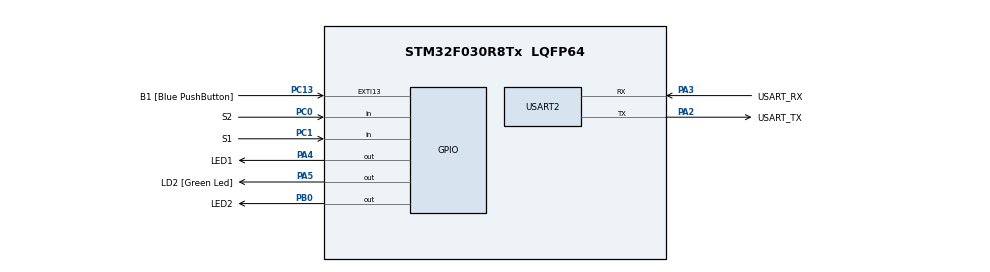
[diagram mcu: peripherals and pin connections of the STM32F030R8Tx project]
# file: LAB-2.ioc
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Mcu.Family=STM32F0
Mcu.Name=STM32F030R8Tx
Mcu.Package=LQFP64
PA13.GPIO_Label=TMS
PA13.Mode=Serial_Wire
PA13.Signal=SYS_SWDIO
PA14.GPIO_Label=TCK
PA14.Mode=Serial_Wire
PA14.Signal=SYS_SWCLK
PA2.GPIO_Label=USART_TX
PA2.GPIO_Mode=GPIO_MODE_AF_PP
PA2.GPIO_PuPd=GPIO_NOPULL
PA2.GPIO_Speed=GPIO_SPEED_FREQ_LOW
PA2.Mode=Asynchronous
PA2.Signal=USART2_TX
PA3.GPIO_Label=USART_RX
PA3.GPIO_Mode=GPIO_MODE_AF_PP
PA3.GPIO_PuPd=GPIO_NOPULL
PA3.GPIO_Speed=GPIO_SPEED_FREQ_LOW
PA3.Mode=Asynchronous
PA3.Signal=USART2_RX
PA4.GPIO_Label=LED1
PA4.Signal=GPIO_Output
PA5.GPIO_Label=LD2 [Green Led]
PA5.GPIO_Mode=GPIO_MODE_OUTPUT_PP
PA5.GPIO_PuPd=GPIO_NOPULL
PA5.GPIO_Speed=GPIO_SPEED_FREQ_LOW
PA5.Signal=GPIO_Output
PB0.GPIO_Label=LED2
PB0.Signal=GPIO_Output
PC0.GPIO_Label=S2
PC0.GPIO_PuPd=GPIO_PULLUP
PC0.Signal=GPIO_Input
PC1.GPIO_Label=S1
PC1.GPIO_PuPd=GPIO_PULLUP
PC1.Signal=GPIO_Input
PC13.GPIO_Label=B1 [Blue PushButton]
PC13.GPIO_ModeDefaultEXTI=GPIO_MODE_IT_FALLING
PC13.Signal=GPXTI13
PC14-OSC32_IN.Mode=LSE-External-Oscillator
PC14-OSC32_IN.Signal=RCC_OSC32_IN
PC15-OSC32_OUT.Mode=LSE-External-Oscillator
PC15-OSC32_OUT.Signal=RCC_OSC32_OUT
PF0-OSC_IN.Mode=HSE-External-Clock-Source
PF0-OSC_IN.Signal=RCC_OSC_IN
PF1-OSC_OUT.Signal=RCC_OSC_OUT
ProjectManager.HeapSize=0x200
ProjectManager.StackSize=0x400
ProjectManager.TargetToolchain=STM32CubeIDE
RCC.AHBFreq_Value=48000000
RCC.APB1Freq_Value=48000000
RCC.APB1TimFreq_Value=48000000
RCC.HCLKFreq_Value=48000000
RCC.PLLMUL=RCC_PLL_MUL12
RCC.SYSCLKFreq_VALUE=48000000
RCC.SYSCLKSource=RCC_SYSCLKSOURCE_PLLCLK
USART2.VirtualMode-Asynchronous=VM_ASYNC
board=NUCLEO-F030R8

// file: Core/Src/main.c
/* USER CODE BEGIN Header */
/**
  ******************************************************************************
  * @file           : main.c
  * @brief          : Main program body
  ******************************************************************************
  * @attention
  *
  * Copyright (c) 2025 STMicroelectronics.
  * All rights reserved.
  *
  * This software is licensed under terms that can be found in the LICENSE file
  * in the root directory of this software component.
  * If no LICENSE file comes with this software, it is provided AS-IS.
  *
  ******************************************************************************
  */
/* USER CODE END Header */
#include "main.h"

/* USER CODE BEGIN PD */
#define LED_TIME_BLINK 	300
#define BUTT_SAMP_PER 	5
#define LED_TIME_SHORT 	100
#define LED_TIME_LONG  	1000
/* USER CODE END PD */

void SystemClock_Config(void);
static void MX_GPIO_Init(void);
static void MX_USART2_UART_Init(void);

/* USER CODE BEGIN 0 */
volatile uint32_t Tick;

void blink(void)
{
	static uint32_t delay = 0;
	if (Tick > delay + LED_TIME_BLINK) {
		LL_GPIO_TogglePin(LED1_GPIO_Port, LED1_Pin);
		delay = Tick;
	}
}

void button(void)
{
	static uint32_t sampleDelay = 0;
	static uint16_t debounce_s1 = 0xFFFF;
	static uint16_t debounce_s2 = 0xFFFF;

	static uint32_t off_time;
	if (Tick > off_time) {
		LL_GPIO_ResetOutputPin(LED2_GPIO_Port, LED2_Pin);
	}

	if (Tick > sampleDelay + BUTT_SAMP_PER)
	{
		/*
		// 40ms sample debouncing
		static uint32_t old_s1;
		static uint32_t old_s2;
		uint32_t new_s1 = LL_GPIO_IsInputPinSet(S1_GPIO_Port, S1_Pin);
		uint32_t new_s2 = LL_GPIO_IsInputPinSet(S2_GPIO_Port, S2_Pin);

		if (old_s1 && !new_s1) { // falling edge
			off_time = Tick + LED_TIME_LONG;
			LL_GPIO_SetOutputPin(LED2_GPIO_Port, LED2_Pin);
		}

		if (old_s2 && !new_s2) { // falling edge
			off_time = Tick + LED_TIME_SHORT;
			LL_GPIO_SetOutputPin(LED2_GPIO_Port, LED2_Pin);
		}

		old_s1 = new_s1;
		old_s2 = new_s2;
		 */

		debounce_s1 = (debounce_s1 << 1) | (LL_GPIO_IsInputPinSet(S1_GPIO_Port, S1_Pin) ? 1 : 0);
		debounce_s2 = (debounce_s2 << 1) | LL_GPIO_IsInputPinSet(S2_GPIO_Port, S2_Pin);

		if (debounce_s1 == 0x7FFF)
		{
			off_time = Tick + LED_TIME_LONG;
			LL_GPIO_SetOutputPin(LED2_GPIO_Port, LED2_Pin);
		}

		if (debounce_s2 == 0x7FFF)
		{
			off_time = Tick + LED_TIME_SHORT;
			LL_GPIO_SetOutputPin(LED2_GPIO_Port, LED2_Pin);
		}

		sampleDelay = Tick;
	}
}
/* USER CODE END 0 */

int main(void)
{

  /* MCU Configuration--------------------------------------------------------*/

  /* Reset of all peripherals, Initializes the Flash interface and the Systick. */
  LL_APB1_GRP2_EnableClock(LL_APB1_GRP2_PERIPH_SYSCFG);
  LL_APB1_GRP1_EnableClock(LL_APB1_GRP1_PERIPH_PWR);

  /* Configure the system clock */
  SystemClock_Config();

  /* Initialize all configured peripherals */
  MX_GPIO_Init();
  MX_USART2_UART_Init();
  /* USER CODE BEGIN 2 */
  LL_SYSTICK_EnableIT();
  /* USER CODE END 2 */

  /* Infinite loop */
  while (1)
  {

    /* USER CODE BEGIN 3 */
	blink();
	button();
  }
  /* USER CODE END 3 */
}

void SystemClock_Config(void)
{
  LL_FLASH_SetLatency(LL_FLASH_LATENCY_1);
  while(LL_FLASH_GetLatency() != LL_FLASH_LATENCY_1)
  {
  }
  LL_RCC_HSI_Enable();

   /* Wait till HSI is ready */
  while(LL_RCC_HSI_IsReady() != 1)
  {

  }
  LL_RCC_HSI_SetCalibTrimming(16);
  LL_RCC_PLL_ConfigDomain_SYS(LL_RCC_PLLSOURCE_HSI_DIV_2, LL_RCC_PLL_MUL_12);
  LL_RCC_PLL_Enable();

   /* Wait till PLL is ready */
  while(LL_RCC_PLL_IsReady() != 1)
  {

  }
  LL_RCC_SetAHBPrescaler(LL_RCC_SYSCLK_DIV_1);
  LL_RCC_SetAPB1Prescaler(LL_RCC_APB1_DIV_1);
  LL_RCC_SetSysClkSource(LL_RCC_SYS_CLKSOURCE_PLL);

   /* Wait till System clock is ready */
  while(LL_RCC_GetSysClkSource() != LL_RCC_SYS_CLKSOURCE_STATUS_PLL)
  {

  }
  LL_Init1msTick(48000000);
  LL_SetSystemCoreClock(48000000);
}

static void MX_USART2_UART_Init(void)
{

  LL_USART_InitTypeDef USART_InitStruct = {0};

  LL_GPIO_InitTypeDef GPIO_InitStruct = {0};

  /* Peripheral clock enable */
  LL_APB1_GRP1_EnableClock(LL_APB1_GRP1_PERIPH_USART2);

  LL_AHB1_GRP1_EnableClock(LL_AHB1_GRP1_PERIPH_GPIOA);
  /**USART2 GPIO Configuration
  PA2   ------> USART2_TX
  PA3   ------> USART2_RX
  */
  GPIO_InitStruct.Pin = USART_TX_Pin;
  GPIO_InitStruct.Mode = LL_GPIO_MODE_ALTERNATE;
  GPIO_InitStruct.Speed = LL_GPIO_SPEED_FREQ_LOW;
  GPIO_InitStruct.OutputType = LL_GPIO_OUTPUT_PUSHPULL;
  GPIO_InitStruct.Pull = LL_GPIO_PULL_NO;
  GPIO_InitStruct.Alternate = LL_GPIO_AF_1;
  LL_GPIO_Init(USART_TX_GPIO_Port, &GPIO_InitStruct);

  GPIO_InitStruct.Pin = USART_RX_Pin;
  GPIO_InitStruct.Mode = LL_GPIO_MODE_ALTERNATE;
  GPIO_InitStruct.Speed = LL_GPIO_SPEED_FREQ_LOW;
  GPIO_InitStruct.OutputType = LL_GPIO_OUTPUT_PUSHPULL;
  GPIO_InitStruct.Pull = LL_GPIO_PULL_NO;
  GPIO_InitStruct.Alternate = LL_GPIO_AF_1;
  LL_GPIO_Init(USART_RX_GPIO_Port, &GPIO_InitStruct);

  USART_InitStruct.BaudRate = 38400;
  USART_InitStruct.DataWidth = LL_USART_DATAWIDTH_8B;
  USART_InitStruct.StopBits = LL_USART_STOPBITS_1;
  USART_InitStruct.Parity = LL_USART_PARITY_NONE;
  USART_InitStruct.TransferDirection = LL_USART_DIRECTION_TX_RX;
  USART_InitStruct.HardwareFlowControl = LL_USART_HWCONTROL_NONE;
  USART_InitStruct.OverSampling = LL_USART_OVERSAMPLING_16;
  LL_USART_Init(USART2, &USART_InitStruct);
  LL_USART_DisableIT_CTS(USART2);
  LL_USART_ConfigAsyncMode(USART2);
  LL_USART_Enable(USART2);

}

static void MX_GPIO_Init(void)
{
  LL_EXTI_InitTypeDef EXTI_InitStruct = {0};
  LL_GPIO_InitTypeDef GPIO_InitStruct = {0};

  /* GPIO Ports Clock Enable */
  LL_AHB1_GRP1_EnableClock(LL_AHB1_GRP1_PERIPH_GPIOC);
  LL_AHB1_GRP1_EnableClock(LL_AHB1_GRP1_PERIPH_GPIOF);
  LL_AHB1_GRP1_EnableClock(LL_AHB1_GRP1_PERIPH_GPIOA);
  LL_AHB1_GRP1_EnableClock(LL_AHB1_GRP1_PERIPH_GPIOB);

  /**/
  LL_GPIO_ResetOutputPin(LED1_GPIO_Port, LED1_Pin);

  /**/
  LL_GPIO_ResetOutputPin(LD2_GPIO_Port, LD2_Pin);

  /**/
  LL_GPIO_ResetOutputPin(LED2_GPIO_Port, LED2_Pin);

  /**/
  LL_SYSCFG_SetEXTISource(LL_SYSCFG_EXTI_PORTC, LL_SYSCFG_EXTI_LINE13);

  /**/
  LL_GPIO_SetPinPull(B1_GPIO_Port, B1_Pin, LL_GPIO_PULL_NO);

  /**/
  LL_GPIO_SetPinMode(B1_GPIO_Port, B1_Pin, LL_GPIO_MODE_INPUT);

  /**/
  EXTI_InitStruct.Line_0_31 = LL_EXTI_LINE_13;
  EXTI_InitStruct.LineCommand = ENABLE;
  EXTI_InitStruct.Mode = LL_EXTI_MODE_IT;
  EXTI_InitStruct.Trigger = LL_EXTI_TRIGGER_FALLING;
  LL_EXTI_Init(&EXTI_InitStruct);

  /**/
  GPIO_InitStruct.Pin = S2_Pin;
  GPIO_InitStruct.Mode = LL_GPIO_MODE_INPUT;
  GPIO_InitStruct.Pull = LL_GPIO_PULL_UP;
  LL_GPIO_Init(S2_GPIO_Port, &GPIO_InitStruct);

  /**/
  GPIO_InitStruct.Pin = S1_Pin;
  GPIO_InitStruct.Mode = LL_GPIO_MODE_INPUT;
  GPIO_InitStruct.Pull = LL_GPIO_PULL_UP;
  LL_GPIO_Init(S1_GPIO_Port, &GPIO_InitStruct);

  /**/
  GPIO_InitStruct.Pin = LED1_Pin;
  GPIO_InitStruct.Mode = LL_GPIO_MODE_OUTPUT;
  GPIO_InitStruct.Speed = LL_GPIO_SPEED_FREQ_LOW;
  GPIO_InitStruct.OutputType = LL_GPIO_OUTPUT_PUSHPULL;
  GPIO_InitStruct.Pull = LL_GPIO_PULL_NO;
  LL_GPIO_Init(LED1_GPIO_Port, &GPIO_InitStruct);

  /**/
  GPIO_InitStruct.Pin = LD2_Pin;
  GPIO_InitStruct.Mode = LL_GPIO_MODE_OUTPUT;
  GPIO_InitStruct.Speed = LL_GPIO_SPEED_FREQ_LOW;
  GPIO_InitStruct.OutputType = LL_GPIO_OUTPUT_PUSHPULL;
  GPIO_InitStruct.Pull = LL_GPIO_PULL_NO;
  LL_GPIO_Init(LD2_GPIO_Port, &GPIO_InitStruct);

  /**/
  GPIO_InitStruct.Pin = LED2_Pin;
  GPIO_InitStruct.Mode = LL_GPIO_MODE_OUTPUT;
  GPIO_InitStruct.Speed = LL_GPIO_SPEED_FREQ_LOW;
  GPIO_InitStruct.OutputType = LL_GPIO_OUTPUT_PUSHPULL;
  GPIO_InitStruct.Pull = LL_GPIO_PULL_NO;
  LL_GPIO_Init(LED2_GPIO_Port, &GPIO_InitStruct);

}

void Error_Handler(void)
{
  __disable_irq();
  while (1)
  {
  }
}
